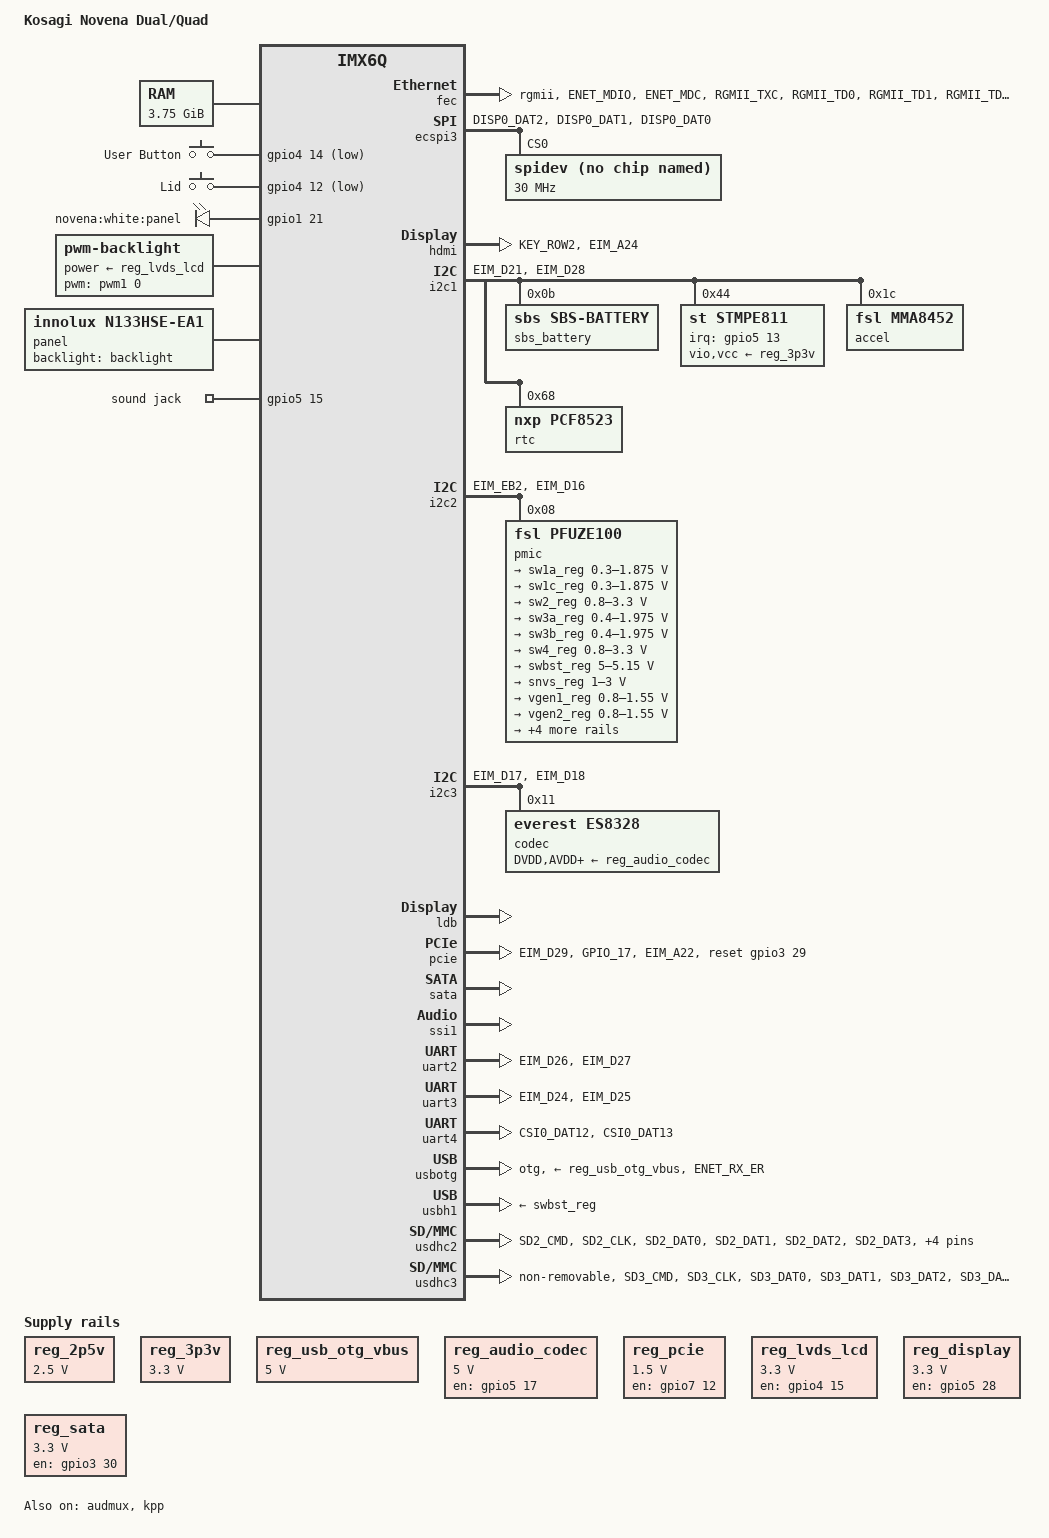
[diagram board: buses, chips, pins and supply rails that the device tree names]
/*
 * Copyright 2014 Sutajio Ko-Usagi PTE LTD
 * Copyright 2012 Freescale Semiconductor, Inc.
 * Copyright 2011 Linaro Ltd.
 *
 * The code contained herein is licensed under the GNU General Public
 * License. You may obtain a copy of the GNU General Public License
 * Version 2 or later at the following locations:
 *
 * http://www.opensource.org/licenses/gpl-license.html
 * http://www.gnu.org/copyleft/gpl.html
 */

/dts-v1/;
#include "imx6q.dtsi"
#include <dt-bindings/gpio/gpio.h>
#include <dt-bindings/input/input.h>

/ {
	model = "Kosagi Novena Dual/Quad";
	compatible = "kosagi,imx6q-novena", "fsl,imx6q";

	memory {
		reg = <0x10000000 0xefffffff>;
	};

	chosen {
		stdout-path = &uart2;
	};

	reg_2p5v: 2p5v {
		compatible = "regulator-fixed";
		regulator-name = "2P5V";
		regulator-min-microvolt = <2500000>;
		regulator-max-microvolt = <2500000>;
		regulator-always-on;
	};

	reg_3p3v: 3p3v {
		compatible = "regulator-fixed";
		regulator-name = "3P3V";
		regulator-min-microvolt = <3300000>;
		regulator-max-microvolt = <3300000>;
		regulator-always-on;
	};

	reg_usb_otg_vbus: usb_otg_vbus {
		compatible = "regulator-fixed";
		regulator-name = "usb_otg_vbus";
		regulator-min-microvolt = <5000000>;
		regulator-max-microvolt = <5000000>;
		enable-active-high;
	};

	reg_audio_codec: es8328-regulator {
		compatible = "regulator-fixed";
		regulator-name = "es8328-power";
		regulator-boot-on;
		regulator-min-microvolt = <5000000>;
		regulator-max-microvolt = <5000000>;
		startup-delay-us = <400000>;
		gpio = <&gpio5 17 GPIO_ACTIVE_HIGH>;
		enable-active-high;
	};

	reg_pcie: pcie-regulator {
		compatible = "regulator-fixed";
		regulator-name = "pcie-bus-power";
		regulator-min-microvolt = <1500000>;
		regulator-max-microvolt = <1500000>;
		gpio = <&gpio7 12 GPIO_ACTIVE_HIGH>;
		enable-active-high;
	};

	reg_lvds_lcd: lcd-regulator {
		compatible = "regulator-fixed";
		regulator-name = "lcd-lvds-power";
		regulator-min-microvolt = <3300000>;
		regulator-max-microvolt = <3300000>;
		gpio = <&gpio4 15 GPIO_ACTIVE_HIGH>;
		enable-active-high;
	};

	reg_display: display-regulator {
		compatible = "regulator-fixed";
		regulator-name = "lcd-display-power";
		regulator-min-microvolt = <3300000>;
		regulator-max-microvolt = <3300000>;
		startup-delay-us = <200000>;
		gpio = <&gpio5 28 GPIO_ACTIVE_HIGH>;
		enable-active-high;
	};

	reg_sata: sata-regulator {
		compatible = "regulator-fixed";
		regulator-name = "sata-power";
		regulator-boot-on;
		regulator-min-microvolt = <3300000>;
		regulator-max-microvolt = <3300000>;
		startup-delay-us = <10000>;
		gpio = <&gpio3 30 GPIO_ACTIVE_HIGH>;
		enable-active-high;
	};

	gpio-keys {
		compatible = "gpio-keys";
		pinctrl-names = "default";
		pinctrl-0 = <&pinctrl_gpio_keys_novena>;

		user-button {
			label = "User Button";
			gpios = <&gpio4 14 GPIO_ACTIVE_LOW>;
			linux,code = <KEY_POWER>;
		};

		lid {
			label = "Lid";
			gpios = <&gpio4 12 GPIO_ACTIVE_LOW>;
			linux,input-type = <5>; /* EV_SW */
			linux,code = <0>; /* SW_LID */
		};
	};

	leds {
		compatible = "gpio-leds";
		pinctrl-names = "default";
		pinctrl-0 = <&pinctrl_leds_novena>;

		heartbeat {
			label = "novena:white:panel";
			gpios = <&gpio1 21 GPIO_ACTIVE_HIGH>;
			linux,default-trigger = "default-on";
		};
	};

	backlight: backlight {
		compatible = "pwm-backlight";
		pwms = <&pwm1 0 10000000>;

		pinctrl-names = "default";
		pinctrl-0 = <&pinctrl_backlight_novena>;
		power-supply = <&reg_lvds_lcd>;

		brightness-levels = <0 3 6 12 16 24 32 48 64 96 128 192 255>;
		default-brightness-level = <12>;
	};

	panel: panel {
		compatible = "innolux,n133hse-ea1", "simple-panel";
		backlight = <&backlight>;
	};

	sound {
		compatible = "fsl,imx-audio-es8328";
		model = "imx-audio-es8328";
		ssi-controller = <&ssi1>;
		audio-codec = <&codec>;
		audio-amp-supply = <&reg_audio_codec>;
		jack-gpio = <&gpio5 15 GPIO_ACTIVE_HIGH>;
		audio-routing = 
			"Speaker", "LOUT2",
			"Speaker", "ROUT2",
			"Speaker", "audio-amp",
			"Headphone", "ROUT1",
			"Headphone", "LOUT1",
			"LINPUT1", "Mic Jack",
			"RINPUT1", "Mic Jack",
			"Mic Jack", "Mic Bias";
		mux-int-port = <0x1>;
		mux-ext-port = <0x3>;
	};
};

&audmux {
	pinctrl-names = "default";
	pinctrl-0 = <&pinctrl_audmux_novena>;
	status = "okay";
};

&fec {
	pinctrl-names = "default";
	pinctrl-0 = <&pinctrl_enet_novena>;
	phy-mode = "rgmii";
	phy-reset-gpios = <&gpio3 23 GPIO_ACTIVE_HIGH>;
	mac-address = [00 00 00 00 00 00];
	rxc-skew-ps = <3000>;
	rxdv-skew-ps = <0>;
	txc-skew-ps = <3000>;
	txen-skew-ps = <0>;
	rxd0-skew-ps = <0>;
	rxd1-skew-ps = <0>;
	rxd2-skew-ps = <0>;
	rxd3-skew-ps = <0>;
	txd0-skew-ps = <3000>;
	txd1-skew-ps = <3000>;
	txd2-skew-ps = <3000>;
	txd3-skew-ps = <3000>;
	status = "okay";
};

&ecspi3 {
	pinctrl-names = "default";
	pinctrl-0 = <&pinctrl_ecspi3_novena>;
	fsl,spi-num-chipselects = <3>;
	status = "okay";

	spidev@0 {
		compatible = "spidev";
		spi-max-frequency = <30000000>;
		reg = <0>;
	};
};

&hdmi {
	pinctrl-names = "default";
	pinctrl-0 = <&pinctrl_hdmi_novena>;
	ddc-i2c-bus = <&i2c2>;
	status = "okay";
};

&i2c1 {
	pinctrl-names = "default";
	pinctrl-0 = <&pinctrl_i2c1_novena>;
	status = "okay";

	sbs_battery: bq20z75@0b {
		compatible = "sbs,sbs-battery";
		reg = <0x0b>;
		sbs,i2c-retry-count = <50>;
	};

	stmpe811@44 {
		compatible = "st,stmpe811";
		reg = <0x44>;
		#address-cells = <1>;
		#size-cells = <0>;
		irq-gpio = <&gpio5 13 GPIO_ACTIVE_HIGH>;
		id = <0>;
		blocks = <0x5>;
		irq-trigger = <0x1>;
		pinctrl-names = "default";
		pinctrl-0 = <&pinctrl_stmpe_novena>;
		vio-supply = <&reg_3p3v>;
		vcc-supply = <&reg_3p3v>;

		stmpe_touchscreen {
			compatible = "st,stmpe-ts";
			st,sample-time = <4>;
			st,mod-12b = <1>;
			st,ref-sel = <0>;
			st,adc-freq = <1>;
			st,ave-ctrl = <1>;
			st,touch-det-delay = <2>;
			st,settling = <2>;
			st,fraction-z = <7>;
			st,i-drive = <1>;
		};
	};

	accel: mma8452@1c {
		compatible = "fsl,mma8452";
		reg = <0x1c>;
	};

	rtc: pcf8523@68 {
		compatible = "nxp,pcf8523";
		reg = <0x68>;
	};
};

&i2c2 {
	pinctrl-names = "default";
	pinctrl-0 = <&pinctrl_i2c2_novena>;
	status = "okay";

	pmic: pfuze100@08 {
		compatible = "fsl,pfuze100";
		reg = <0x08>;

		regulators {
			sw1a_reg: sw1ab {
				regulator-min-microvolt = <300000>;
				regulator-max-microvolt = <1875000>;
				regulator-boot-on;
				regulator-always-on;
				regulator-ramp-delay = <6250>;
			};

			sw1c_reg: sw1c {
				regulator-min-microvolt = <300000>;
				regulator-max-microvolt = <1875000>;
				regulator-boot-on;
				regulator-always-on;
			};

			sw2_reg: sw2 {
				regulator-min-microvolt = <800000>;
				regulator-max-microvolt = <3300000>;
				regulator-boot-on;
				regulator-always-on;
			};

			sw3a_reg: sw3a {
				regulator-min-microvolt = <400000>;
				regulator-max-microvolt = <1975000>;
				regulator-boot-on;
				regulator-always-on;
			};

			sw3b_reg: sw3b {
				regulator-min-microvolt = <400000>;
				regulator-max-microvolt = <1975000>;
				regulator-boot-on;
				regulator-always-on;
			};

			sw4_reg: sw4 {
				regulator-min-microvolt = <800000>;
				regulator-max-microvolt = <3300000>;
			};

			swbst_reg: swbst {
				regulator-min-microvolt = <5000000>;
				regulator-max-microvolt = <5150000>;
				regulator-boot-on;
			};

			snvs_reg: vsnvs {
				regulator-min-microvolt = <1000000>;
				regulator-max-microvolt = <3000000>;
				regulator-boot-on;
				regulator-always-on;
			};

			vref_reg: vrefddr {
				regulator-boot-on;
				regulator-always-on;
			};

			vgen1_reg: vgen1 {
				regulator-min-microvolt = <800000>;
				regulator-max-microvolt = <1550000>;
			};

			vgen2_reg: vgen2 {
				regulator-min-microvolt = <800000>;
				regulator-max-microvolt = <1550000>;
			};

			vgen3_reg: vgen3 {
				regulator-min-microvolt = <1800000>;
				regulator-max-microvolt = <3300000>;
			};

			vgen4_reg: vgen4 {
				regulator-min-microvolt = <1800000>;
				regulator-max-microvolt = <3300000>;
				regulator-always-on;
			};

			vgen5_reg: vgen5 {
				regulator-min-microvolt = <1800000>;
				regulator-max-microvolt = <3300000>;
				regulator-always-on;
			};

			vgen6_reg: vgen6 {
				regulator-min-microvolt = <1800000>;
				regulator-max-microvolt = <3300000>;
				regulator-always-on;
			};
		};
	};
};

&i2c3 {
	pinctrl-names = "default";
	pinctrl-0 = <&pinctrl_i2c3_novena>;
	status = "okay";

	codec: es8328@11 {
		compatible = "everest,es8328";
		reg = <0x11>;
		DVDD-supply = <&reg_audio_codec>;
		AVDD-supply = <&reg_audio_codec>;
		PVDD-supply = <&reg_audio_codec>;
		HPVDD-supply = <&reg_audio_codec>;

		pinctrl-names = "default";
		pinctrl-0 = <&pinctrl_sound_novena>;

		clocks = <&clks IMX6QDL_CLK_CKO1>;
		assigned-clocks = <&clks IMX6QDL_CLK_CKO>, <&clks IMX6QDL_CLK_CKO1_SEL>, <&clks IMX6QDL_CLK_PLL4_AUDIO>, <&clks IMX6QDL_CLK_CKO1>;
		assigned-clock-parents = <&clks IMX6QDL_CLK_CKO1>, <&clks IMX6QDL_CLK_PLL4_AUDIO_DIV>, <&clks IMX6QDL_CLK_OSC>, <&clks IMX6QDL_CLK_CKO1_PODF>;
		assigned-clock-rates = <0 0 722534400 22579200>;
	};
};

&iomuxc {
	audmux {
		pinctrl_audmux_novena: audmuxgrp-novena {
			fsl,pins = <
				MX6QDL_PAD_CSI0_DAT7__AUD3_RXD  0x80000000
				MX6QDL_PAD_CSI0_DAT4__AUD3_TXC  0x80000000
				MX6QDL_PAD_CSI0_DAT5__AUD3_TXD  0x80000000
				MX6QDL_PAD_CSI0_DAT6__AUD3_TXFS 0x80000000
			>;
		};
	};

	kpp-keys {
		pinctrl_kpp_novena: kppgrp-novena {
			fsl,pins = <
				/* Front panel button */
				MX6QDL_PAD_KEY_ROW1__KEY_ROW1 0x1b0b1

				/* Fake column driver, not connected */
				MX6QDL_PAD_KEY_COL1__KEY_COL1 0x1b0b1
			>;
		};
	};	
		
	backlight {
		pinctrl_backlight_novena: backlightgrp-novena {
			fsl,pins = <
				MX6QDL_PAD_DISP0_DAT8__PWM1_OUT   0x1b0b0
				MX6QDL_PAD_CSI0_DAT10__GPIO5_IO28 0x80000000
				MX6QDL_PAD_KEY_ROW4__GPIO4_IO15   0x80000000
			>;
		};
	};

	ecspi3 {
		pinctrl_ecspi3_novena: ecspi3grp-novena {
			fsl,pins = <
				MX6QDL_PAD_DISP0_DAT2__ECSPI3_MISO 0x100b1
				MX6QDL_PAD_DISP0_DAT1__ECSPI3_MOSI 0x100b1
				MX6QDL_PAD_DISP0_DAT0__ECSPI3_SCLK 0x100b1
			>;
		};
	};

	enet {
		pinctrl_enet_novena: enetgrp-novena {
			fsl,pins = <
				MX6QDL_PAD_ENET_MDIO__ENET_MDIO       0x1b0b0
				MX6QDL_PAD_ENET_MDC__ENET_MDC         0x1b0b0
				MX6QDL_PAD_RGMII_TXC__RGMII_TXC       0x1b020
				MX6QDL_PAD_RGMII_TD0__RGMII_TD0       0x1b028
				MX6QDL_PAD_RGMII_TD1__RGMII_TD1       0x1b028
				MX6QDL_PAD_RGMII_TD2__RGMII_TD2       0x1b028
				MX6QDL_PAD_RGMII_TD3__RGMII_TD3       0x1b028
				MX6QDL_PAD_RGMII_TX_CTL__RGMII_TX_CTL 0x1b028
				MX6QDL_PAD_ENET_REF_CLK__ENET_TX_CLK  0x1b0b0
				MX6QDL_PAD_RGMII_RXC__RGMII_RXC       0x1b0b0
				MX6QDL_PAD_RGMII_RD0__RGMII_RD0       0x1b0b0
				MX6QDL_PAD_RGMII_RD1__RGMII_RD1       0x1b0b0
				MX6QDL_PAD_RGMII_RD2__RGMII_RD2       0x1b0b0
				MX6QDL_PAD_RGMII_RD3__RGMII_RD3       0x1b0b0
				MX6QDL_PAD_RGMII_RX_CTL__RGMII_RX_CTL 0x1b0b0
				MX6QDL_PAD_GPIO_16__ENET_REF_CLK      0x4001b0a8

				/* Ethernet reset */
				MX6QDL_PAD_EIM_D23__GPIO3_IO23  0x80000000
			>;
		};
	};

	gpio_keys {
		pinctrl_gpio_keys_novena: gpiokeysgrp-novena {
			fsl,pins = <
				/* User button */
				MX6QDL_PAD_KEY_COL4__GPIO4_IO14 0x1b0b0

				/* PCIe Wakeup */
				MX6QDL_PAD_EIM_D22__GPIO3_IO22  0x1f0e0

				/* Lid switch */
				MX6QDL_PAD_KEY_COL3__GPIO4_IO12 0x1b0b0
			>;
		};
	};

	hdmi {
		pinctrl_hdmi_novena: hdmigrp-novena {
			fsl,pins = <
				MX6QDL_PAD_KEY_ROW2__HDMI_TX_CEC_LINE 0x1f8b0
				MX6QDL_PAD_EIM_A24__GPIO5_IO04        0x80000000
			>;
		};
	};

	i2c1 {
		pinctrl_i2c1_novena: i2c1grp-novena {
			fsl,pins = <
				MX6QDL_PAD_EIM_D21__I2C1_SCL 0x4001b8b1
				MX6QDL_PAD_EIM_D28__I2C1_SDA 0x4001b8b1
			>;
		};
	};

	i2c2 {
		pinctrl_i2c2_novena: i2c2grp-novena {
			fsl,pins = <
				MX6QDL_PAD_EIM_EB2__I2C2_SCL 0x4001b8b1
				MX6QDL_PAD_EIM_D16__I2C2_SDA 0x4001b8b1
			>;
		};
	};

	i2c3 {
		pinctrl_i2c3_novena: i2c3grp-novena {
			fsl,pins = <
				MX6QDL_PAD_EIM_D17__I2C3_SCL 0x4001b8b1
				MX6QDL_PAD_EIM_D18__I2C3_SDA 0x4001b8b1
			>;
		};
	};

	leds {
		pinctrl_leds_novena: ledsgrp-novena {
			fsl,pins = <
				MX6QDL_PAD_SD1_DAT3__GPIO1_IO21 0x80000000
			>;
		};
	};

	fpga {
		pinctrl_fpga_gpio: fpgagpiogrp-novena {
			fsl,pins = <
				/* FPGA power */
				MX6QDL_PAD_SD1_DAT1__GPIO1_IO17 0x80000000

				/* Reset */
				MX6QDL_PAD_DISP0_DAT13__GPIO5_IO07 0x80000000

				/* FPGA GPIOs */
				MX6QDL_PAD_EIM_DA0__GPIO3_IO00	0x80000000
				MX6QDL_PAD_EIM_DA1__GPIO3_IO01	0x80000000
				MX6QDL_PAD_EIM_DA2__GPIO3_IO02	0x80000000
				MX6QDL_PAD_EIM_DA3__GPIO3_IO03	0x80000000
				MX6QDL_PAD_EIM_DA4__GPIO3_IO04	0x80000000
				MX6QDL_PAD_EIM_DA5__GPIO3_IO05  0x80000000
				MX6QDL_PAD_EIM_DA6__GPIO3_IO06  0x80000000
				MX6QDL_PAD_EIM_DA7__GPIO3_IO07  0x80000000
				MX6QDL_PAD_EIM_DA8__GPIO3_IO08	0x80000000
				MX6QDL_PAD_EIM_DA9__GPIO3_IO09	0x80000000
				MX6QDL_PAD_EIM_DA10__GPIO3_IO10	0x80000000
				MX6QDL_PAD_EIM_DA11__GPIO3_IO11	0x80000000
				MX6QDL_PAD_EIM_DA12__GPIO3_IO12	0x80000000
				MX6QDL_PAD_EIM_DA13__GPIO3_IO13	0x80000000
				MX6QDL_PAD_EIM_DA14__GPIO3_IO14	0x80000000
				MX6QDL_PAD_EIM_DA15__GPIO3_IO15	0x80000000
				MX6QDL_PAD_EIM_A16__GPIO2_IO22  0x80000000
				MX6QDL_PAD_EIM_A17__GPIO2_IO21  0x80000000
				MX6QDL_PAD_EIM_A18__GPIO2_IO20  0x80000000
				MX6QDL_PAD_EIM_CS0__GPIO2_IO23	0x80000000
				MX6QDL_PAD_EIM_CS1__GPIO2_IO24	0x80000000
				MX6QDL_PAD_EIM_LBA__GPIO2_IO27  0x80000000
				MX6QDL_PAD_EIM_OE__GPIO2_IO25   0x80000000
				MX6QDL_PAD_EIM_RW__GPIO2_IO26   0x80000000
				MX6QDL_PAD_EIM_WAIT__GPIO5_IO00 0x80000000
				MX6QDL_PAD_EIM_BCLK__GPIO6_IO31 0x80000000
			>;
		};

		pinctrl_fpga_eim: fpgaeimgrp-novena {
			fsl,pins = <
				/* FPGA power */
				MX6QDL_PAD_SD1_DAT1__GPIO1_IO17 0x80000000

				/* Reset */
				MX6QDL_PAD_DISP0_DAT13__GPIO5_IO07 0x80000000

				/* FPGA GPIOs */
				MX6QDL_PAD_EIM_DA0__EIM_AD00    0xb0f1
				MX6QDL_PAD_EIM_DA1__EIM_AD01    0xb0f1
				MX6QDL_PAD_EIM_DA2__EIM_AD02    0xb0f1
				MX6QDL_PAD_EIM_DA3__EIM_AD03    0xb0f1
				MX6QDL_PAD_EIM_DA4__EIM_AD04    0xb0f1
				MX6QDL_PAD_EIM_DA5__EIM_AD05    0xb0f1
				MX6QDL_PAD_EIM_DA6__EIM_AD06    0xb0f1
				MX6QDL_PAD_EIM_DA7__EIM_AD07    0xb0f1
				MX6QDL_PAD_EIM_DA8__EIM_AD08    0xb0f1
				MX6QDL_PAD_EIM_DA9__EIM_AD09    0xb0f1
				MX6QDL_PAD_EIM_DA10__EIM_AD10   0xb0f1
				MX6QDL_PAD_EIM_DA11__EIM_AD11   0xb0f1
				MX6QDL_PAD_EIM_DA12__EIM_AD12   0xb0f1
				MX6QDL_PAD_EIM_DA13__EIM_AD13   0xb0f1
				MX6QDL_PAD_EIM_DA14__EIM_AD14   0xb0f1
				MX6QDL_PAD_EIM_DA15__EIM_AD15   0xb0f1
				MX6QDL_PAD_EIM_A16__EIM_ADDR16  0xb0f1
				MX6QDL_PAD_EIM_A17__EIM_ADDR17  0xb0f1
				MX6QDL_PAD_EIM_A18__EIM_ADDR18  0xb0f1
				MX6QDL_PAD_EIM_CS0__EIM_CS0_B   0xb0f1
				MX6QDL_PAD_EIM_CS1__EIM_CS1_B   0xb0f1
				MX6QDL_PAD_EIM_LBA__EIM_LBA_B   0xb0f1
				MX6QDL_PAD_EIM_OE__EIM_OE_B     0xb0f1
				MX6QDL_PAD_EIM_RW__EIM_RW       0xb0f1
				MX6QDL_PAD_EIM_WAIT__EIM_WAIT_B 0xb0f1
				MX6QDL_PAD_EIM_BCLK__EIM_BCLK   0xb0f1
			>;
		};
	};

	pcie {
		pinctrl_pcie_novena: pciegrp-novena {
			fsl,pins = <
				/* Reset */
				MX6QDL_PAD_EIM_D29__GPIO3_IO29  0x80000000

				/* Power On */
				MX6QDL_PAD_GPIO_17__GPIO7_IO12  0x80000000

				/* Wifi kill */
				MX6QDL_PAD_EIM_A22__GPIO2_IO16  0x80000000
			>;
		};
	};

	sata {
		pinctrl_sata_novena: satagrp-novena {
			fsl,pins = <
				MX6QDL_PAD_EIM_D30__GPIO3_IO30  0x80000000
			>;
		};
	};

	senoko {
		pinctrl_senoko_novena: senokogrp-novena {
			fsl,pins = <
				/* Senoko IRQ line */
				MX6QDL_PAD_SD1_CLK__GPIO1_IO20 0x13048

				/* Senoko reset line */
				MX6QDL_PAD_CSI0_VSYNC__GPIO5_IO21 0x80000000
			>;
		};
	};

	sound {
		pinctrl_sound_novena: soundgrp-novena {
			fsl,pins = <
				/* Audio power regulator */
				MX6QDL_PAD_DISP0_DAT23__GPIO5_IO17 0x80000000

				/* Headphone plug */
				MX6QDL_PAD_DISP0_DAT21__GPIO5_IO15 0x80000000

				MX6QDL_PAD_GPIO_0__CCM_CLKO1       0x80000000
			>;
		};
	};

	ts {
		pinctrl_stmpe_novena: stmpegrp-novena {
			fsl,pins = <
				/* Touchscreen interrupt */
				MX6QDL_PAD_DISP0_DAT19__GPIO5_IO13 0x80000000
			>;
		};
	};

	uart2 {
		pinctrl_uart2_novena: uart2grp-novena {
			fsl,pins = <
				MX6QDL_PAD_EIM_D26__UART2_TX_DATA   0x1b0b1
				MX6QDL_PAD_EIM_D27__UART2_RX_DATA   0x1b0b1
			>;
		};
	};

	uart3 {
		pinctrl_uart3_novena: uart3grp-novena {
			fsl,pins = <
				MX6QDL_PAD_EIM_D24__UART3_TX_DATA 0x1b0b1
				MX6QDL_PAD_EIM_D25__UART3_RX_DATA 0x1b0b1
			>;
		};
	};
	uart4 {
		pinctrl_uart4_novena: uart4grp-novena {
			fsl,pins = <
				MX6QDL_PAD_CSI0_DAT12__UART4_TX_DATA 0x1b0b1
				MX6QDL_PAD_CSI0_DAT13__UART4_RX_DATA 0x1b0b1
			>;
		};
	};

	usbotg {
		pinctrl_usbotg_novena: usbotggrp-novena {
			fsl,pins = <
				MX6QDL_PAD_ENET_RX_ER__USB_OTG_ID 0x17059
			>;
		};
	};

	usdhc2 {
		pinctrl_usdhc2_novena: usdhc2grp-novena {
			fsl,pins = <
				MX6QDL_PAD_SD2_CMD__SD2_CMD    0x17059
				MX6QDL_PAD_SD2_CLK__SD2_CLK    0x10059
				MX6QDL_PAD_SD2_DAT0__SD2_DATA0 0x17059
				MX6QDL_PAD_SD2_DAT1__SD2_DATA1 0x17059
				MX6QDL_PAD_SD2_DAT2__SD2_DATA2 0x17059
				MX6QDL_PAD_SD2_DAT3__SD2_DATA3 0x17059

				/* Write protect */
				MX6QDL_PAD_GPIO_2__GPIO1_IO02   0x80000000

				/* Card detect */
				MX6QDL_PAD_GPIO_4__GPIO1_IO04   0x80000000
			>;
		};
	};

	usdhc3 {
		pinctrl_usdhc3_novena: usdhc3grp-novena {
			fsl,pins = <
				MX6QDL_PAD_SD3_CMD__SD3_CMD    0x17059
				MX6QDL_PAD_SD3_CLK__SD3_CLK    0x10059
				MX6QDL_PAD_SD3_DAT0__SD3_DATA0 0x17059
				MX6QDL_PAD_SD3_DAT1__SD3_DATA1 0x17059
				MX6QDL_PAD_SD3_DAT2__SD3_DATA2 0x17059
				MX6QDL_PAD_SD3_DAT3__SD3_DATA3 0x17059
			>;
		};
	};
};

&kpp {
	pinctrl-names = "default";
	pinctrl-0 = <&pinctrl_kpp_novena>;
	linux,keymap = <
		MATRIX_KEY(1, 1, KEY_CONFIG)
	>;
	status = "okay";
};

&ldb {
	fsl,dual-channel;
	status = "okay";
	lvds-channel@0 {
		fsl,data-mapping = "jeida";
		fsl,data-width = <24>;
		fsl,panel = <&panel>;
		status = "okay";
	};
};

&pcie {
	pinctrl-names = "default";
	pinctrl-0 = <&pinctrl_pcie_novena>;
	reset-gpio = <&gpio3 29 GPIO_ACTIVE_HIGH>;
	bus-supply = <&reg_pcie>;
	status = "okay";
};

&sata {
	target-supply = <&reg_sata>;
	fsl,transmit-level-mV = <1025>;
	fsl,transmit-boost-mdB = <0>;
	fsl,transmit-atten-16ths = <8>;
	status = "okay";
};

&ssi1 {
	fsl,mode = "i2s-slave";
	status = "okay";
};

&uart2 {
	pinctrl-names = "default";
	pinctrl-0 = <&pinctrl_uart2_novena>;
	status = "okay";
};

&uart3 {
	pinctrl-names = "default";
	pinctrl-0 = <&pinctrl_uart3_novena>;
	status = "okay";
};

&uart4 {
	pinctrl-names = "default";
	pinctrl-0 = <&pinctrl_uart4_novena>;
	status = "okay";
};

&usbotg {
	vbus-supply = <&reg_usb_otg_vbus>;
	dr_mode = "otg";
	pinctrl-names = "default";
	pinctrl-0 = <&pinctrl_usbotg_novena>;
	disable-over-current;
	status = "okay";
};

&usbh1 {
	vbus-supply = <&swbst_reg>;
	status = "okay";
};

&usdhc2 {
	pinctrl-names = "default";
	pinctrl-0 = <&pinctrl_usdhc2_1>;
	pinctrl-0 = <&pinctrl_usdhc2_novena>;
	cd-gpios = <&gpio1 4 GPIO_ACTIVE_HIGH>;
	wp-gpios = <&gpio1 2 GPIO_ACTIVE_HIGH>;
	status = "okay";
};

&usdhc3 {
	pinctrl-names = "default";
	pinctrl-0 = <&pinctrl_usdhc3_novena>;
	non-removable;
	status = "okay";
};
